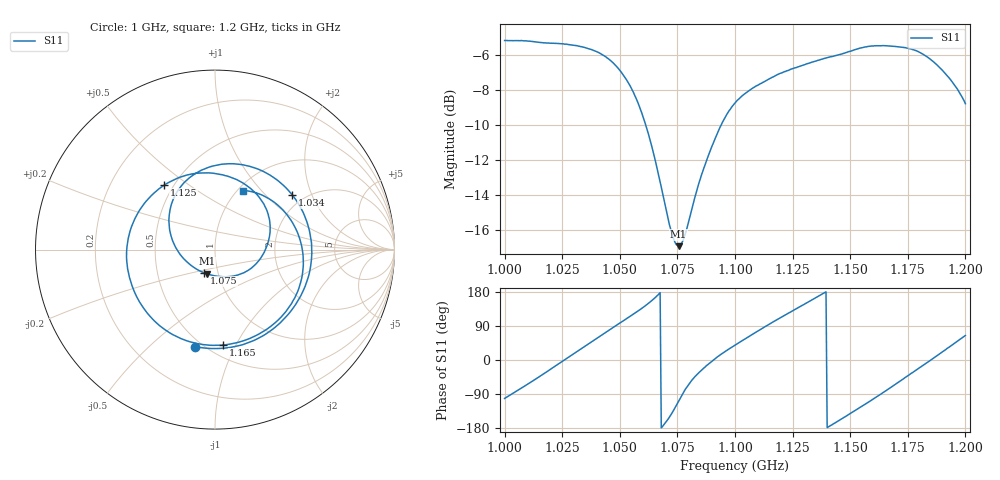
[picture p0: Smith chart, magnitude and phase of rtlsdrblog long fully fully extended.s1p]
! NanoVNA-App
! Date: 2026-05-22 22:14:43
! Start: 1GHz Stop: 1.2GHz Points: 401
! S-Parameter data: F S11
# Hz S RI R 50
!  Frequency  S11_Real  S11_Imag
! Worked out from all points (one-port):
!   401 points, 1 GHz to 1.2 GHz, reference 50 ohm
!   lowest |S11| = -16.9 dB at 1.075 GHz (marker M1), VSWR 1.33, Z = 44.1 - j12.1 ohm
!   |S11| at or under -10 dB: 1.061 GHz to 1.094 GHz (32.76 MHz wide, 3.04 % of centre)
!   S11 on the Smith chart (normalised r, x): 1 GHz: 0.46, -0.71; 1.034 GHz: 1.74, +1.46; 1.075 GHz: 0.86, -0.23; 1.125 GHz: 0.45, +0.41; 1.165 GHz: 0.60, -0.89; 1.2 GHz: 1.06, +0.80
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1e9  -0.1091 -0.541
1.006e9  0.1066 -0.5409
1.0115e9  0.2906 -0.4655
1.0185e9  0.4685 -0.2735
1.025e9  0.5387 -0.0361
1.0345e9  0.4315 0.3036
1.0425e9  0.1918 0.4643
1.05e9  -0.0576 0.4495
1.056e9  -0.2042 0.3334
1.062e9  -0.2572 0.1633
1.068e9  -0.21 -0.0034
1.075e9  -0.0593 -0.13
1.0755e9  -0.0457 -0.1347
1.082e9  0.1259 -0.1419
1.089e9  0.2621 -0.036
1.1e9  0.2837 0.2302
1.1125e9  0.029 0.4188
1.1245e9  -0.2822 0.3596
1.125e9  -0.2931 0.3524
1.1385e9  -0.4888 0.031
1.15e9  -0.4009 -0.3217
1.1575e9  -0.2054 -0.4889
1.1645e9  0.0453 -0.5317
1.175e9  0.3927 -0.3482
1.1805e9  0.4821 -0.1636
1.186e9  0.4789 0.0352
1.1935e9  0.3434 0.2533
1.2e9  0.1558 0.3288
